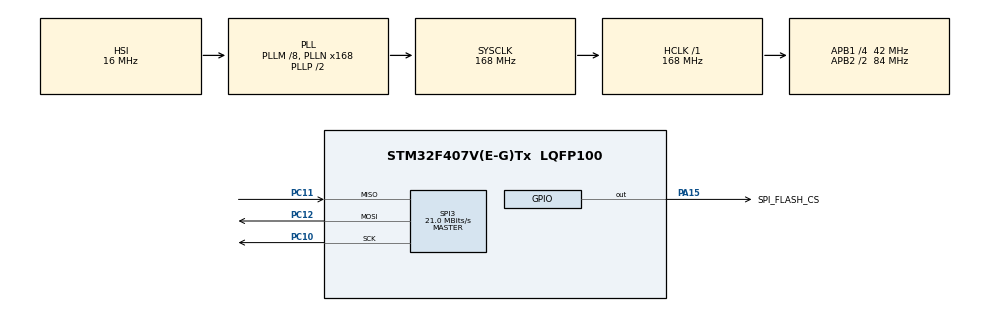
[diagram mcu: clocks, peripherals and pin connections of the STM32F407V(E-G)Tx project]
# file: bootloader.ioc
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Dma.Request0=SPI3_RX
Dma.Request1=SPI3_TX
Dma.SPI3_RX.0.Direction=DMA_PERIPH_TO_MEMORY
Dma.SPI3_RX.0.FIFOMode=DMA_FIFOMODE_DISABLE
Dma.SPI3_RX.0.Instance=DMA1_Stream0
Dma.SPI3_RX.0.MemDataAlignment=DMA_MDATAALIGN_BYTE
Dma.SPI3_RX.0.MemInc=DMA_MINC_ENABLE
Dma.SPI3_RX.0.Mode=DMA_NORMAL
Dma.SPI3_RX.0.PeriphDataAlignment=DMA_PDATAALIGN_BYTE
Dma.SPI3_RX.0.PeriphInc=DMA_PINC_DISABLE
Dma.SPI3_RX.0.Priority=DMA_PRIORITY_LOW
Dma.SPI3_TX.1.Direction=DMA_MEMORY_TO_PERIPH
Dma.SPI3_TX.1.FIFOMode=DMA_FIFOMODE_DISABLE
Dma.SPI3_TX.1.Instance=DMA1_Stream5
Dma.SPI3_TX.1.MemDataAlignment=DMA_MDATAALIGN_BYTE
Dma.SPI3_TX.1.MemInc=DMA_MINC_ENABLE
Dma.SPI3_TX.1.Mode=DMA_NORMAL
Dma.SPI3_TX.1.PeriphDataAlignment=DMA_PDATAALIGN_BYTE
Dma.SPI3_TX.1.PeriphInc=DMA_PINC_DISABLE
Dma.SPI3_TX.1.Priority=DMA_PRIORITY_LOW
Mcu.Family=STM32F4
Mcu.Name=STM32F407V(E-G)Tx
Mcu.Package=LQFP100
NVIC.DMA1_Stream0_IRQn=true\:5\:0\:true\:false\:true\:false
NVIC.DMA1_Stream5_IRQn=true\:5\:0\:true\:false\:true\:false
NVIC.PriorityGroup=NVIC_PRIORITYGROUP_4
PA13.Mode=Trace_Asynchronous_SW
PA13.Signal=SYS_JTMS-SWDIO
PA14.Mode=Trace_Asynchronous_SW
PA14.Signal=SYS_JTCK-SWCLK
PA15.GPIO_Label=SPI_FLASH_CS
PA15.Signal=GPIO_Output
PB3.Mode=Trace_Asynchronous_SW
PB3.Signal=SYS_JTDO-SWO
PC10.Mode=Full_Duplex_Master
PC10.Signal=SPI3_SCK
PC11.Mode=Full_Duplex_Master
PC11.Signal=SPI3_MISO
PC12.Mode=Full_Duplex_Master
PC12.Signal=SPI3_MOSI
ProjectManager.HeapSize=0x200
ProjectManager.StackSize=0x400
ProjectManager.TargetToolchain=MDK-ARM V5
RCC.48MHZClocksFreq_Value=84000000
RCC.AHBFreq_Value=168000000
RCC.APB1CLKDivider=RCC_HCLK_DIV4
RCC.APB1Freq_Value=42000000
RCC.APB1TimFreq_Value=84000000
RCC.APB2CLKDivider=RCC_HCLK_DIV2
RCC.APB2Freq_Value=84000000
RCC.APB2TimFreq_Value=168000000
RCC.CortexFreq_Value=168000000
RCC.HCLKFreq_Value=168000000
RCC.HSE_VALUE=25000000
RCC.HSI_VALUE=16000000
RCC.LSE_VALUE=32768
RCC.PLLM=8
RCC.PLLN=168
RCC.SYSCLKFreq_VALUE=168000000
RCC.SYSCLKSource=RCC_SYSCLKSOURCE_PLLCLK
RCC.VCOOutputFreq_Value=336000000
SPI3.CalculateBaudRate=21.0 MBits/s
SPI3.Direction=SPI_DIRECTION_2LINES
SPI3.Mode=SPI_MODE_MASTER
SPI3.VirtualType=VM_MASTER
board=bootloader

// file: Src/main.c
/**
  ******************************************************************************
  * @file           : main.c
  * @brief          : Main program body
  ******************************************************************************
  ** This notice applies to any and all portions of this file
  * that are not between comment pairs USER CODE BEGIN and
  * USER CODE END. Other portions of this file, whether
  * inserted by the user or by software development tools
  * are owned by their respective copyright owners.
  *
  * COPYRIGHT(c) 2018 STMicroelectronics
  *
  * Redistribution and use in source and binary forms, with or without modification,
  * are permitted provided that the following conditions are met:
  *   1. Redistributions of source code must retain the above copyright notice,
  *      this list of conditions and the following disclaimer.
  *   2. Redistributions in binary form must reproduce the above copyright notice,
  *      this list of conditions and the following disclaimer in the documentation
  *      and/or other materials provided with the distribution.
  *   3. Neither the name of STMicroelectronics nor the names of its contributors
  *      may be used to endorse or promote products derived from this software
  *      without specific prior written permission.
  *
  * THIS SOFTWARE IS PROVIDED BY THE COPYRIGHT HOLDERS AND CONTRIBUTORS "AS IS"
  * AND ANY EXPRESS OR IMPLIED WARRANTIES, INCLUDING, BUT NOT LIMITED TO, THE
  * IMPLIED WARRANTIES OF MERCHANTABILITY AND FITNESS FOR A PARTICULAR PURPOSE ARE
  * DISCLAIMED. IN NO EVENT SHALL THE COPYRIGHT HOLDER OR CONTRIBUTORS BE LIABLE
  * FOR ANY DIRECT, INDIRECT, INCIDENTAL, SPECIAL, EXEMPLARY, OR CONSEQUENTIAL
  * DAMAGES (INCLUDING, BUT NOT LIMITED TO, PROCUREMENT OF SUBSTITUTE GOODS OR
  * SERVICES; LOSS OF USE, DATA, OR PROFITS; OR BUSINESS INTERRUPTION) HOWEVER
  * CAUSED AND ON ANY THEORY OF LIABILITY, WHETHER IN CONTRACT, STRICT LIABILITY,
  * OR TORT (INCLUDING NEGLIGENCE OR OTHERWISE) ARISING IN ANY WAY OUT OF THE USE
  * OF THIS SOFTWARE, EVEN IF ADVISED OF THE POSSIBILITY OF SUCH DAMAGE.
  *
  ******************************************************************************
  */
#include "main.h"
#include "stm32f4xx_hal.h"

SPI_HandleTypeDef hspi3;
DMA_HandleTypeDef hdma_spi3_rx;
DMA_HandleTypeDef hdma_spi3_tx;

/* USER CODE BEGIN PV */
/* Private variables ---------------------------------------------------------*/
pFunction Jump_To_Application;
uint32_t JumpAddress;
/* USER CODE END PV */

void SystemClock_Config(void);
static void MX_GPIO_Init(void);
static void MX_DMA_Init(void);
static void MX_SPI3_Init(void);

/* USER CODE BEGIN PFP */
/* Private function prototypes -----------------------------------------------*/

/* USER CODE END PFP */

int main(void)
{

  /* MCU Configuration----------------------------------------------------------*/

  /* Reset of all peripherals, Initializes the Flash interface and the Systick. */
  HAL_Init();

  /* Configure the system clock */
  SystemClock_Config();

  /* Initialize all configured peripherals */
  MX_GPIO_Init();
  MX_DMA_Init();
  MX_SPI3_Init();
  /* USER CODE BEGIN 2 */
	if (((*(__IO uint32_t*)APPLICATION_ADDRESS_01) & 0x2FFE0000 ) == 0x20000000) {
		/* Jump to user application */
		JumpAddress = *(__IO uint32_t*) (APPLICATION_ADDRESS_01 + 4);
		Jump_To_Application = (pFunction) JumpAddress;
		/* Initialize user application's Stack Pointer */
		__set_MSP(*(__IO uint32_t*) APPLICATION_ADDRESS_01);
		SCB->VTOR = APPLICATION_ADDRESS_01;
		Jump_To_Application();
	}

	if (((*(__IO uint32_t*)APPLICATION_ADDRESS_02) & 0x2FFE0000 ) == 0x20000000) {
		/* Jump to user application */
		JumpAddress = *(__IO uint32_t*) (APPLICATION_ADDRESS_02 + 4);
		Jump_To_Application = (pFunction) JumpAddress;
		/* Initialize user application's Stack Pointer */
		__set_MSP(*(__IO uint32_t*) APPLICATION_ADDRESS_02);
		SCB->VTOR = APPLICATION_ADDRESS_02;
		Jump_To_Application();
	}
  /* USER CODE END 2 */

  /* Infinite loop */
  /* USER CODE BEGIN WHILE */
  while (1)
  {
	printf("No executable user app found!\n");
  /* USER CODE END WHILE */

  /* USER CODE BEGIN 3 */
	HAL_Delay(2000);
  }
  /* USER CODE END 3 */

}

void SystemClock_Config(void)
{

  RCC_OscInitTypeDef RCC_OscInitStruct;
  RCC_ClkInitTypeDef RCC_ClkInitStruct;

    /**Configure the main internal regulator output voltage
    */
  __HAL_RCC_PWR_CLK_ENABLE();

  __HAL_PWR_VOLTAGESCALING_CONFIG(PWR_REGULATOR_VOLTAGE_SCALE1);

    /**Initializes the CPU, AHB and APB busses clocks
    */
  RCC_OscInitStruct.OscillatorType = RCC_OSCILLATORTYPE_HSI;
  RCC_OscInitStruct.HSIState = RCC_HSI_ON;
  RCC_OscInitStruct.HSICalibrationValue = 16;
  RCC_OscInitStruct.PLL.PLLState = RCC_PLL_ON;
  RCC_OscInitStruct.PLL.PLLSource = RCC_PLLSOURCE_HSI;
  RCC_OscInitStruct.PLL.PLLM = 8;
  RCC_OscInitStruct.PLL.PLLN = 168;
  RCC_OscInitStruct.PLL.PLLP = RCC_PLLP_DIV2;
  RCC_OscInitStruct.PLL.PLLQ = 4;
  if (HAL_RCC_OscConfig(&RCC_OscInitStruct) != HAL_OK)
  {
    _Error_Handler(__FILE__, __LINE__);
  }

    /**Initializes the CPU, AHB and APB busses clocks
    */
  RCC_ClkInitStruct.ClockType = RCC_CLOCKTYPE_HCLK|RCC_CLOCKTYPE_SYSCLK
                              |RCC_CLOCKTYPE_PCLK1|RCC_CLOCKTYPE_PCLK2;
  RCC_ClkInitStruct.SYSCLKSource = RCC_SYSCLKSOURCE_PLLCLK;
  RCC_ClkInitStruct.AHBCLKDivider = RCC_SYSCLK_DIV1;
  RCC_ClkInitStruct.APB1CLKDivider = RCC_HCLK_DIV4;
  RCC_ClkInitStruct.APB2CLKDivider = RCC_HCLK_DIV2;

  if (HAL_RCC_ClockConfig(&RCC_ClkInitStruct, FLASH_LATENCY_5) != HAL_OK)
  {
    _Error_Handler(__FILE__, __LINE__);
  }

    /**Configure the Systick interrupt time
    */
  HAL_SYSTICK_Config(HAL_RCC_GetHCLKFreq()/1000);

    /**Configure the Systick
    */
  HAL_SYSTICK_CLKSourceConfig(SYSTICK_CLKSOURCE_HCLK);

  /* SysTick_IRQn interrupt configuration */
  HAL_NVIC_SetPriority(SysTick_IRQn, 0, 0);
}

/* SPI3 init function */
static void MX_SPI3_Init(void)
{

  /* SPI3 parameter configuration*/
  hspi3.Instance = SPI3;
  hspi3.Init.Mode = SPI_MODE_MASTER;
  hspi3.Init.Direction = SPI_DIRECTION_2LINES;
  hspi3.Init.DataSize = SPI_DATASIZE_8BIT;
  hspi3.Init.CLKPolarity = SPI_POLARITY_LOW;
  hspi3.Init.CLKPhase = SPI_PHASE_1EDGE;
  hspi3.Init.NSS = SPI_NSS_SOFT;
  hspi3.Init.BaudRatePrescaler = SPI_BAUDRATEPRESCALER_2;
  hspi3.Init.FirstBit = SPI_FIRSTBIT_MSB;
  hspi3.Init.TIMode = SPI_TIMODE_DISABLE;
  hspi3.Init.CRCCalculation = SPI_CRCCALCULATION_DISABLE;
  hspi3.Init.CRCPolynomial = 10;
  if (HAL_SPI_Init(&hspi3) != HAL_OK)
  {
    _Error_Handler(__FILE__, __LINE__);
  }

}

static void MX_DMA_Init(void)
{
  /* DMA controller clock enable */
  __HAL_RCC_DMA1_CLK_ENABLE();

  /* DMA interrupt init */
  /* DMA1_Stream0_IRQn interrupt configuration */
  HAL_NVIC_SetPriority(DMA1_Stream0_IRQn, 5, 0);
  HAL_NVIC_EnableIRQ(DMA1_Stream0_IRQn);
  /* DMA1_Stream5_IRQn interrupt configuration */
  HAL_NVIC_SetPriority(DMA1_Stream5_IRQn, 5, 0);
  HAL_NVIC_EnableIRQ(DMA1_Stream5_IRQn);

}

/** Configure pins as
        * Analog
        * Input
        * Output
        * EVENT_OUT
        * EXTI
*/
static void MX_GPIO_Init(void)
{

  GPIO_InitTypeDef GPIO_InitStruct;

  /* GPIO Ports Clock Enable */
  __HAL_RCC_GPIOA_CLK_ENABLE();
  __HAL_RCC_GPIOC_CLK_ENABLE();
  __HAL_RCC_GPIOB_CLK_ENABLE();

  /*Configure GPIO pin Output Level */
  HAL_GPIO_WritePin(SPI_FLASH_CS_GPIO_Port, SPI_FLASH_CS_Pin, GPIO_PIN_RESET);

  /*Configure GPIO pin : SPI_FLASH_CS_Pin */
  GPIO_InitStruct.Pin = SPI_FLASH_CS_Pin;
  GPIO_InitStruct.Mode = GPIO_MODE_OUTPUT_PP;
  GPIO_InitStruct.Pull = GPIO_NOPULL;
  GPIO_InitStruct.Speed = GPIO_SPEED_FREQ_LOW;
  HAL_GPIO_Init(SPI_FLASH_CS_GPIO_Port, &GPIO_InitStruct);

}

void _Error_Handler(char *file, int line)
{
  while(1)
  {
  }
}

/************************ (C) COPYRIGHT STMicroelectronics *****END OF FILE****/
